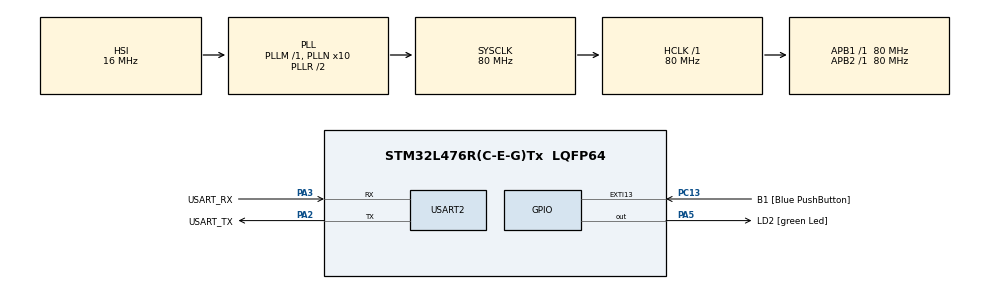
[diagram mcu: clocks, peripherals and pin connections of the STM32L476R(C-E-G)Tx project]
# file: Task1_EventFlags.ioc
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FREERTOS.Tasks01=defaultTask,24,128,StartDefaultTask,Default,NULL,Dynamic,NULL,NULL
Mcu.Family=STM32L4
Mcu.Name=STM32L476R(C-E-G)Tx
Mcu.Package=LQFP64
NVIC.PriorityGroup=NVIC_PRIORITYGROUP_4
PA13\ (JTMS-SWDIO).GPIO_Label=TMS
PA13\ (JTMS-SWDIO).Mode=Serial_Wire
PA13\ (JTMS-SWDIO).Signal=SYS_JTMS-SWDIO
PA14\ (JTCK-SWCLK).GPIO_Label=TCK
PA14\ (JTCK-SWCLK).Mode=Serial_Wire
PA14\ (JTCK-SWCLK).Signal=SYS_JTCK-SWCLK
PA2.GPIO_Label=USART_TX
PA2.GPIO_Mode=GPIO_MODE_AF_PP
PA2.GPIO_PuPd=GPIO_NOPULL
PA2.GPIO_Speed=GPIO_SPEED_FREQ_VERY_HIGH
PA2.Mode=Asynchronous
PA2.Signal=USART2_TX
PA3.GPIO_Label=USART_RX
PA3.GPIO_Mode=GPIO_MODE_AF_PP
PA3.GPIO_PuPd=GPIO_NOPULL
PA3.GPIO_Speed=GPIO_SPEED_FREQ_VERY_HIGH
PA3.Mode=Asynchronous
PA3.Signal=USART2_RX
PA5.GPIO_Label=LD2 [green Led]
PA5.GPIO_ModeDefaultOutputPP=GPIO_MODE_OUTPUT_PP
PA5.GPIO_PuPd=GPIO_NOPULL
PA5.GPIO_Speed=GPIO_SPEED_FREQ_LOW
PA5.Signal=GPIO_Output
PB3\ (JTDO-TRACESWO).GPIO_Label=SWO
PB3\ (JTDO-TRACESWO).Signal=SYS_JTDO-SWO
PC13.GPIO_Label=B1 [Blue PushButton]
PC13.GPIO_ModeDefaultEXTI=GPIO_MODE_IT_FALLING
PC13.GPIO_PuPd=GPIO_NOPULL
PC13.Signal=GPXTI13
PC14-OSC32_IN\ (PC14).Mode=LSE-External-Oscillator
PC14-OSC32_IN\ (PC14).Signal=RCC_OSC32_IN
PC15-OSC32_OUT\ (PC15).Mode=LSE-External-Oscillator
PC15-OSC32_OUT\ (PC15).Signal=RCC_OSC32_OUT
PH0-OSC_IN\ (PH0).Signal=RCC_OSC_IN
PH1-OSC_OUT\ (PH1).Signal=RCC_OSC_OUT
ProjectManager.HeapSize=0x200
ProjectManager.StackSize=0x400
ProjectManager.TargetToolchain=CMake
RCC.ADCFreq_Value=64000000
RCC.AHBFreq_Value=80000000
RCC.APB1Freq_Value=80000000
RCC.APB1TimFreq_Value=80000000
RCC.APB2Freq_Value=80000000
RCC.APB2TimFreq_Value=80000000
RCC.CortexFreq_Value=80000000
RCC.HCLKFreq_Value=80000000
RCC.HSE_VALUE=8000000
RCC.HSI_VALUE=16000000
RCC.MSI_VALUE=4000000
RCC.PLLN=10
RCC.PLLSourceVirtual=RCC_PLLSOURCE_HSI
RCC.PREFETCH_ENABLE=1
RCC.SYSCLKFreq_VALUE=80000000
RCC.SYSCLKSource=RCC_SYSCLKSOURCE_PLLCLK
RCC.USBFreq_Value=64000000
RCC.VCOOutputFreq_Value=160000000
USART2.VirtualMode-Asynchronous=VM_ASYNC
VP_FREERTOS_VS_CMSIS_V2.Mode=CMSIS_V2
board=NUCLEO-L476RG

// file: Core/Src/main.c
/* USER CODE BEGIN Header */
/**
 ******************************************************************************
 * @file           : main.c
 * @brief          : Main program body
 ******************************************************************************
 * @attention
 *
 * Copyright (c) 2026 STMicroelectronics.
 * All rights reserved.
 *
 * This software is licensed under terms that can be found in the LICENSE file
 * in the root directory of this software component.
 * If no LICENSE file comes with this software, it is provided AS-IS.
 *
 ******************************************************************************
 */
/* USER CODE END Header */
#include "main.h"
#include "cmsis_os.h"

/* USER CODE BEGIN Includes */
#include "delay_tasks.h"
#include "print_task.h"
#include "task_manager.h"
/* USER CODE END Includes */

UART_HandleTypeDef huart2;

/* Definitions for defaultTask */
osThreadId_t defaultTaskHandle;
const osThreadAttr_t defaultTask_attributes = {
    .name = "defaultTask",
    .stack_size = 128 * 4,
    .priority = (osPriority_t)osPriorityNormal,
};
/* USER CODE BEGIN PV */
osEventFlagsId_t xEventGroup;
/* USER CODE END PV */

void SystemClock_Config(void);
static void MX_GPIO_Init(void);
static void MX_USART2_UART_Init(void);
void StartDefaultTask(void *argument);

int main(void)
{

    /* MCU
     * Configuration--------------------------------------------------------*/

    /* Reset of all peripherals, Initializes the Flash interface and the
     * Systick. */
    HAL_Init();

    /* Configure the system clock */
    SystemClock_Config();

    /* Initialize all configured peripherals */
    MX_GPIO_Init();
    MX_USART2_UART_Init();

    /* Init scheduler */
    osKernelInitialize();

    /* Create the thread(s) */
    /* creation of defaultTask */
    defaultTaskHandle =
        osThreadNew(StartDefaultTask, NULL, &defaultTask_attributes);

    /* Start scheduler */
    osKernelStart();

    /* We should never get here as control is now taken by the scheduler */

    /* Infinite loop */
    while (1)
    {

    }
}

void SystemClock_Config(void)
{
    RCC_OscInitTypeDef RCC_OscInitStruct = {0};
    RCC_ClkInitTypeDef RCC_ClkInitStruct = {0};

    /** Configure the main internal regulator output voltage
     */
    if (HAL_PWREx_ControlVoltageScaling(PWR_REGULATOR_VOLTAGE_SCALE1) != HAL_OK)
    {
        Error_Handler();
    }

    /** Initializes the RCC Oscillators according to the specified parameters
     * in the RCC_OscInitTypeDef structure.
     */
    RCC_OscInitStruct.OscillatorType = RCC_OSCILLATORTYPE_HSI;
    RCC_OscInitStruct.HSIState = RCC_HSI_ON;
    RCC_OscInitStruct.HSICalibrationValue = RCC_HSICALIBRATION_DEFAULT;
    RCC_OscInitStruct.PLL.PLLState = RCC_PLL_ON;
    RCC_OscInitStruct.PLL.PLLSource = RCC_PLLSOURCE_HSI;
    RCC_OscInitStruct.PLL.PLLM = 1;
    RCC_OscInitStruct.PLL.PLLN = 10;
    RCC_OscInitStruct.PLL.PLLP = RCC_PLLP_DIV7;
    RCC_OscInitStruct.PLL.PLLQ = RCC_PLLQ_DIV2;
    RCC_OscInitStruct.PLL.PLLR = RCC_PLLR_DIV2;
    if (HAL_RCC_OscConfig(&RCC_OscInitStruct) != HAL_OK)
    {
        Error_Handler();
    }

    /** Initializes the CPU, AHB and APB buses clocks
     */
    RCC_ClkInitStruct.ClockType = RCC_CLOCKTYPE_HCLK | RCC_CLOCKTYPE_SYSCLK |
                                  RCC_CLOCKTYPE_PCLK1 | RCC_CLOCKTYPE_PCLK2;
    RCC_ClkInitStruct.SYSCLKSource = RCC_SYSCLKSOURCE_PLLCLK;
    RCC_ClkInitStruct.AHBCLKDivider = RCC_SYSCLK_DIV1;
    RCC_ClkInitStruct.APB1CLKDivider = RCC_HCLK_DIV1;
    RCC_ClkInitStruct.APB2CLKDivider = RCC_HCLK_DIV1;

    if (HAL_RCC_ClockConfig(&RCC_ClkInitStruct, FLASH_LATENCY_4) != HAL_OK)
    {
        Error_Handler();
    }
}

static void MX_USART2_UART_Init(void)
{

    huart2.Instance = USART2;
    huart2.Init.BaudRate = 115200;
    huart2.Init.WordLength = UART_WORDLENGTH_8B;
    huart2.Init.StopBits = UART_STOPBITS_1;
    huart2.Init.Parity = UART_PARITY_NONE;
    huart2.Init.Mode = UART_MODE_TX_RX;
    huart2.Init.HwFlowCtl = UART_HWCONTROL_NONE;
    huart2.Init.OverSampling = UART_OVERSAMPLING_16;
    huart2.Init.OneBitSampling = UART_ONE_BIT_SAMPLE_DISABLE;
    huart2.AdvancedInit.AdvFeatureInit = UART_ADVFEATURE_NO_INIT;
    if (HAL_UART_Init(&huart2) != HAL_OK)
    {
        Error_Handler();
    }
}

static void MX_GPIO_Init(void)
{
    GPIO_InitTypeDef GPIO_InitStruct = {0};

    /* GPIO Ports Clock Enable */
    __HAL_RCC_GPIOC_CLK_ENABLE();
    __HAL_RCC_GPIOH_CLK_ENABLE();
    __HAL_RCC_GPIOA_CLK_ENABLE();
    __HAL_RCC_GPIOB_CLK_ENABLE();

    /*Configure GPIO pin Output Level */
    HAL_GPIO_WritePin(LD2_GPIO_Port, LD2_Pin, GPIO_PIN_RESET);

    /*Configure GPIO pin : B1_Pin */
    GPIO_InitStruct.Pin = B1_Pin;
    GPIO_InitStruct.Mode = GPIO_MODE_IT_FALLING;
    GPIO_InitStruct.Pull = GPIO_NOPULL;
    HAL_GPIO_Init(B1_GPIO_Port, &GPIO_InitStruct);

    /*Configure GPIO pin : LD2_Pin */
    GPIO_InitStruct.Pin = LD2_Pin;
    GPIO_InitStruct.Mode = GPIO_MODE_OUTPUT_PP;
    GPIO_InitStruct.Pull = GPIO_NOPULL;
    GPIO_InitStruct.Speed = GPIO_SPEED_FREQ_LOW;
    HAL_GPIO_Init(LD2_GPIO_Port, &GPIO_InitStruct);

}

void StartDefaultTask(void *argument)
{
    /* USER CODE BEGIN 5 */
    osThreadAttr_t task_attr;
    (void)argument;

    task_attr.attr_bits = 0;
    task_attr.cb_mem = NULL;
    task_attr.cb_size = 0;
    task_attr.stack_mem = NULL;
    task_attr.stack_size = 128 * 4;
    task_attr.priority = (osPriority_t)osPriorityNormal;
    task_attr.tz_module = 0;
    task_attr.reserved = 0;

    xEventGroup = osEventFlagsNew(NULL);

    task_attr.name = "Delay500";
    osThreadNew(Delay500Task, NULL, &task_attr);

    task_attr.name = "Delay700";
    osThreadNew(Delay700Task, NULL, &task_attr);

    task_attr.name = "Delay1100";
    osThreadNew(Delay1100Task, NULL, &task_attr);

    task_attr.name = "Print";
    osThreadNew(PrintTask, NULL, &task_attr);

    osEventFlagsSet(xEventGroup, FLAG_ALL_START);

    for (;;)
    {
        osDelay(1);
    }
    /* USER CODE END 5 */
}

void Error_Handler(void)
{
    /* USER CODE BEGIN Error_Handler_Debug */
    /* User can add his own implementation to report the HAL error return state
     */
    __disable_irq();
    while (1)
    {
    }
    /* USER CODE END Error_Handler_Debug */
}
#ifdef USE_FULL_ASSERT
/**
 * @brief  Reports the name of the source file and the source line number
 *         where the assert_param error has occurred.
 * @param  file: pointer to the source file name
 * @param  line: assert_param error line source number
 * @retval None
 */
void assert_failed(uint8_t *file, uint32_t line)
{
    /* USER CODE BEGIN 6 */
    /* User can add his own implementation to report the file name and line
       number, ex: printf("Wrong parameters value: file %s on line %d\r\n",
       file, line) */
    /* USER CODE END 6 */
}
#endif /* USE_FULL_ASSERT */
